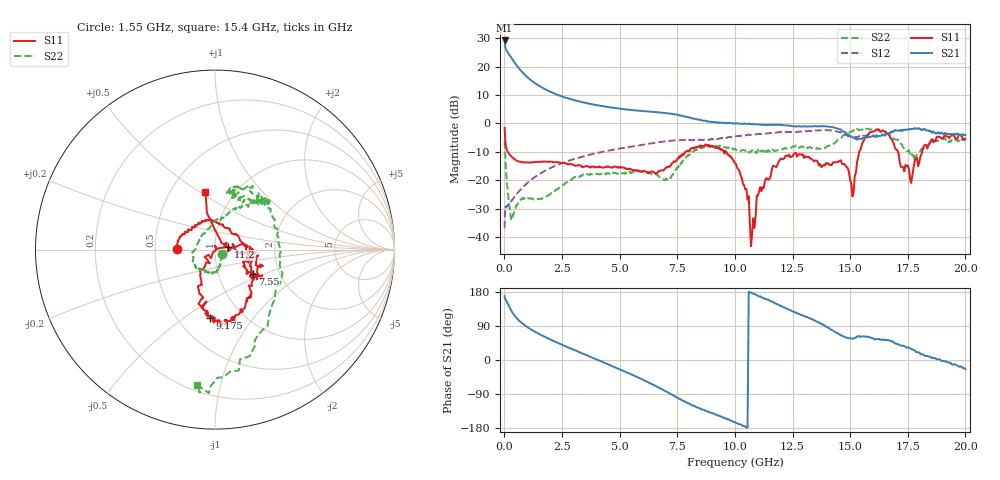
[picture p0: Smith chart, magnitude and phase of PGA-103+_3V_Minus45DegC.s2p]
!Mini-Circuits Laboratory
!S-Parameters, Port extension performed
!Model: PGA-103+
!Run / Lot / Date Code: N/A / BP170-001-01-101EV / 1210
!Fixture: TB-313
!Network Analyzer: PNA-X N5242A - 423 4 ports;  Serial number: 71013
!Date: 5/23/2012 at 10:35:42 AM
!S/N: Unit# 1
!Tested with: VDD=3V AT -45C
# Hz  S  dB  R  50
!Frequency  S11 dB  S11 Deg  S21 dB  S21 Deg  S12 dB  S12 Deg  S22 dB  S22 Deg
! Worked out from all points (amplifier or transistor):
!   660 points, 10 MHz to 20 GHz, reference 50 ohm
!   highest |S21| = 29.2 dB at 10 MHz (marker M1)
!   |S21| within 3 dB of that: start of sweep to 58.38 MHz
!   unconditionally stable (mu >= 1): 128.3 MHz to 12.53 GHz; 13.06 GHz to 14.42 GHz; 18.8 GHz to end of sweep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
!   at 1.275 GHz: K = 1.10, MAG = 14.9 dB, |S12| = -19.1 dB
!   at 6.775 GHz: K = 1.01, MAG = 4.6 dB, |S12| = -6.5 dB
!   at 20 GHz: K = 1.09, MAG = -1.8 dB, |S12| = -4.2 dB
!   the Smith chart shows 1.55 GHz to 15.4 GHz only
!   S11 on the Smith chart (normalised r, x): 1.55 GHz: 0.65, +0.00; 7.55 GHz: 1.46, -0.42; 9.175 GHz: 0.71, -0.64; 11.2 GHz: 1.16, +0.04; 15.4 GHz: 0.74, +0.53
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1e7  -1.53 -21.6  29.22 168.7  -36.73 71.7  -6.29 -28.3
6e7  -7.71 -43.3  26.17 159.1  -29.52 22.5  -15.43 -69.6
1e8  -9.13 -47.8  25.56 154.8  -29.24 23.1  -19.90 -74.2
1.9e8  -10.51 -62.7  24.53 143.1  -28.49 26.8  -27.09 -65.2
2.7e8  -11.39 -77.6  23.54 133.5  -27.62 33.3  -32.64 -39.4
3.8e8  -12.17 -95.7  22.18 122.6  -26.45 38.1  -32.10 6.3
5e8  -12.95 -112.1  20.79 112.9  -25.23 42.5  -29.30 15.0
6.8e8  -13.44 -131.2  18.93 101.6  -23.48 46.6  -27.25 10.8
8.9e8  -13.68 -148.1  17.11 91.3  -21.73 48.1  -26.47 4.3
1.55e9  -13.53 179.5  13.03 67.3  -17.64 44.5  -26.51 -31.6
3.35e9  -15.26 140.8  7.52 18.1  -11.78 15.8  -18.53 -84.5
6.675e9  -17.01 37.6  3.92 -72.1  -6.64 -61.0  -18.32 -176.1
7.55e9  -12.03 -32.8  3.00 -101.0  -5.89 -87.9  -15.04 81.8
9.175e9  -8.33 -94.3  0.38 -144.7  -5.50 -132.1  -7.81 41.2
1.005e10  -14.29 -113.0  0.09 -165.9  -4.47 -154.8  -9.17 52.1
1.075e10  -38.51 61.1  -0.22 176.4  -3.91 -173.4  -9.38 61.6
1.12e10  -22.44 11.7  -0.46 164.0  -3.63 173.8  -9.49 71.5
1.335e10  -12.61 -31.9  -1.01 108.0  -2.56 115.3  -8.67 28.7
1.54e10  -9.77 99.4  -5.24 63.6  -4.42 69.8  -2.39 -97.5
1.67e10  -4.26 40.3  -3.24 51.7  -3.25 51.8  -3.75 -103.0
1.76e10  -19.53 123.4  -2.00 31.7  -2.02 31.4  -11.01 -60.5
2e10  -5.48 107.8  -4.15 -24.4  -4.20 -24.6  -5.22 -11.3
